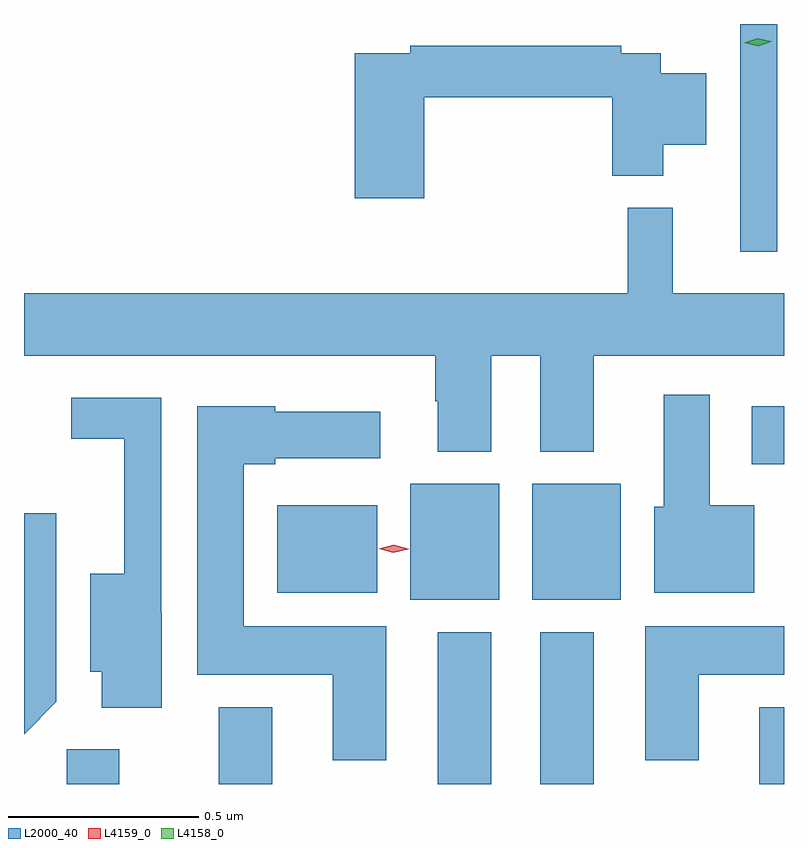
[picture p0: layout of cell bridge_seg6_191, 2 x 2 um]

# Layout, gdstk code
import gdstk
lib = gdstk.Library(unit=1e-6, precision=1e-09)
def R(c, l, rs):  # rectangles x0, y0, x1, y1
    for r in rs: c.add(gdstk.rectangle(r[:2], r[2:], *l))
def P(c, l, *ps):  # polygons
    for p in ps: c.add(gdstk.Polygon(p, *l))
L2000_40 = (2000, 40)
L4158_0 = (4158, 0)
L4159_0 = (4159, 0)

bridge_seg6_191 = lib.new_cell('bridge_seg6_191')
R(bridge_seg6_191, L2000_40, [(290.226,946.209,290.365,946.3), (290.627,946.209,290.767,946.411), (291.203,946.209,291.343,946.609), (291.473,946.209,291.613,946.609), (292.049,946.209,292.114,946.411), (291.131,946.694,291.364,946.999), (291.452,946.694,291.685,946.999), (290.78,946.712,291.043,946.942), (292.029,947.051,292.114,947.203), (291.999,947.61,292.096,948.209)])
P(bridge_seg6_191, L2000_40, [(291.167,948.016),(291.662,948.016),(291.662,947.81),(291.796,947.81),(291.796,947.891),(291.91,947.891),(291.91,948.079),(291.79,948.079),(291.79,948.132),(291.686,948.132),(291.686,948.152),(291.13,948.152),(291.13,948.132),(290.984,948.132),(290.984,947.751),(291.167,947.751)],
  [(290.114,947.336),(291.196,947.336),(291.196,947.216),(291.203,947.216),(291.203,947.084),(291.343,947.084),(291.343,947.336),(291.473,947.336),(291.473,947.084),(291.613,947.084),(291.613,947.336),(292.114,947.336),(292.114,947.5),(291.821,947.5),(291.821,947.725),(291.703,947.725),(291.703,947.5),(290.114,947.5)],
  [(292.036,946.942),(291.919,946.942),(291.919,947.233),(291.797,947.233),(291.797,946.938),(291.773,946.938),(291.773,946.712),(292.036,946.712)],
  [(290.476,946.658),(290.475,946.658),(290.475,947.226),(290.238,947.226),(290.238,947.118),(290.378,947.118),(290.378,946.762),(290.288,946.762),(290.288,946.505),(290.318,946.505),(290.318,946.41),(290.476,946.41)],
  [(291.067,946.624),(290.692,946.624),(290.692,947.051),(290.775,947.051),(290.775,947.066),(291.052,947.066),(291.052,947.188),(290.775,947.188),(290.775,947.203),(290.57,947.203),(290.57,946.496),(290.927,946.496),(290.927,946.272),(291.067,946.272)],
  [(290.199,946.425),(290.199,946.921),(290.114,946.921),(290.114,946.34)],
  [(291.889,946.496),(292.114,946.496),(292.114,946.624),(291.749,946.624),(291.749,946.272),(291.889,946.272)])
P(bridge_seg6_191, L4158_0, [(292.046,948.151),(292.01,948.16),(292.009,948.16),(292.01,948.16),(292.045,948.171),(292.081,948.163),(292.081,948.163),(292.081,948.162)])
P(bridge_seg6_191, L4159_0, [(291.086,946.818),(291.048,946.828),(291.047,946.828),(291.048,946.828),(291.087,946.838),(291.125,946.828),(291.126,946.828),(291.125,946.827)])

lib.write_gds('bridge_seg6_191.gds')
